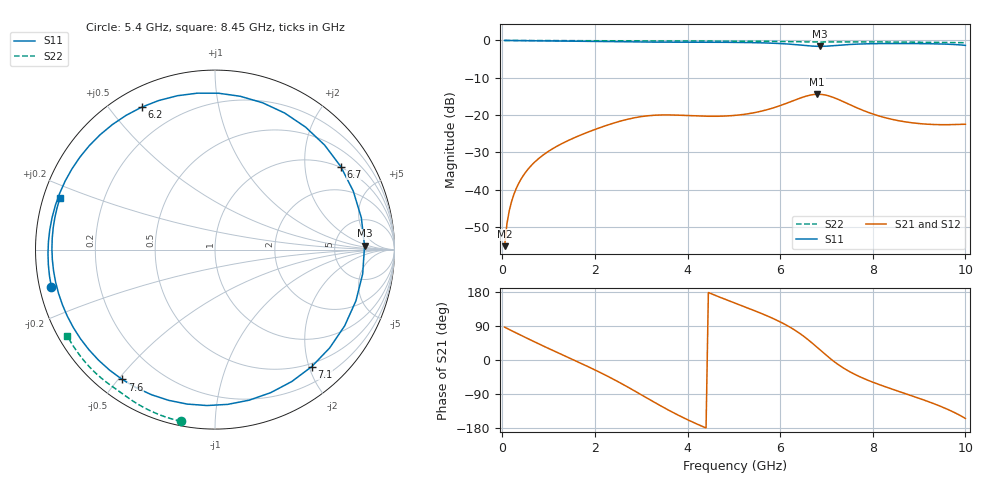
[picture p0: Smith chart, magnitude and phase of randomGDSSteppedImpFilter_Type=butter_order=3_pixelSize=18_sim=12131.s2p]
! freq	dB(S11)	phase(S11)	dB(S12)	phase(S12)
!  dB(S21)	phase(S21)	dB(S22)	phase(S22)
!S-par simulation data
#  GHz  S  DB  R 50
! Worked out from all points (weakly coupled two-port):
!   200 points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, 50 MHz to 10 GHz, reference 50 ohm
!   highest |S21| = -14.45 dB at 6.8 GHz (marker M1); lowest = -55.2 dB at 50 MHz (marker M2)
!   lowest |S11| = -1.6 dB at 6.85 GHz (marker M3), VSWR 11.01, Z = 540 + j76.2 ohm
!   |S11| at or under -10 dB: nowhere
!   |S22| runs from -0.6 to 0.0 dB; largest |S21 - S12| = 0
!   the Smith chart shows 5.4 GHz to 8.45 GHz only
!   S11 on the Smith chart (normalised r, x): 5.4 GHz: 0.03, -0.11; 6.2 GHz: 0.08, +0.61; 6.7 GHz: 0.97, +3.05; 7.1 GHz: 0.45, -2.05; 7.6 GHz: 0.07, -0.51; 8.45 GHz: 0.05, +0.16
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0.05  -0.00 -5.1  -55.21 86.8  -55.21 86.8  -0.00 -1.0
0.3  -0.04 -30.5  -39.77 71.4  -39.77 71.4  -0.01 -6.1
0.9  -0.12 -89.2  -30.58 36.1  -30.58 36.1  -0.03 -18.3
1.75  -0.21 -168.5  -25.09 -11.7  -25.09 -11.7  -0.06 -35.2
2.2  -0.27 146.9  -23.00 -38.2  -23.00 -38.2  -0.08 -43.9
2.65  -0.35 97.1  -21.32 -67.3  -21.32 -67.3  -0.10 -52.4
3  -0.41 55.0  -20.44 -91.6  -20.44 -91.6  -0.12 -59.0
3.4  -0.46 6.8  -20.00 -119.6  -20.00 -119.6  -0.13 -66.3
4.2  -0.47 -75.1  -20.26 -168.8  -20.26 -168.8  -0.16 -80.5
5.05  -0.52 -141.2  -20.08 148.9  -20.08 148.9  -0.19 -95.2
5.4  -0.58 -167.1  -19.48 132.4  -19.48 132.4  -0.22 -101.1
6.2  -0.99 117.3  -16.56 87.5  -16.56 87.5  -0.31 -114.4
6.45  -1.25 80.6  -15.39 67.8  -15.39 67.8  -0.36 -118.3
6.7  -1.52 33.5  -14.56 43.7  -14.56 43.7  -0.40 -122.1
6.8  -1.57 12.3  -14.45 33.2  -14.45 33.2  -0.41 -123.6
6.85  -1.58 1.5  -14.45 27.8  -14.45 27.8  -0.41 -124.3
7.1  -1.45 -50.4  -15.07 1.9  -15.07 1.9  -0.41 -128.0
7.6  -1.02 -125.6  -17.77 -37.1  -17.77 -37.1  -0.38 -135.9
8.35  -0.82 168.6  -20.99 -74.0  -20.99 -74.0  -0.41 -148.1
8.45  -0.82 161.4  -21.27 -78.2  -21.27 -78.2  -0.42 -149.7
9.35  -0.91 97.7  -22.57 -116.7  -22.57 -116.7  -0.51 -164.6
10  -1.32 36.4  -22.48 -154.3  -22.48 -154.3  -0.60 -175.8
